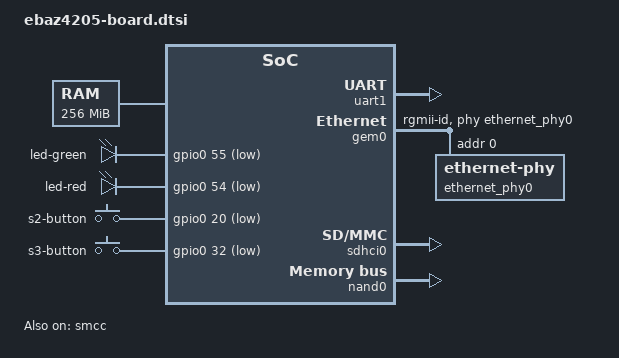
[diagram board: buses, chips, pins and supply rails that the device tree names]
/ {
        chosen {
                bootargs = "console=ttyPS0,115200 earlyprintk root=/dev/mmcblk0p2 rw";
                stdout-path = "serial0:115200n8";
        };

        aliases {
                ethernet0 = &gem0;
                serial0 = &uart1;
                mmc0 = &sdhci0;
        };

        memory@0 {
                device_type = "memory";
                reg = <0x0 0x10000000>;
        };

        leds {
                compatible = "gpio-leds";

		led-green {
                        label = "led-green";
			gpios = <&gpio0 55 1>;
			default-state = "off";
                        linux,default-trigger = "heartbeat";
		};
		led-red {
                        label = "led-red";
			gpios = <&gpio0 54 1>;
			default-state = "off";
		};
        };

        buttons {
                compatible = "gpio-keys-polled";
                poll-interval = <100>;

                s2-button {
                        gpios = <&gpio0 20 1>;
                        label = "s2-button";
                        default-state = "keep";
                        linux,code = <106>;
                        autorepeat;
                };
                s3-button {
                        gpios = <&gpio0 32 1>;
                        label = "s3-button";
                        default-state = "keep";
                        linux,code = <105>;
                        autorepeat;
                };
        };
};

&clkc {
       fclk-enable = <0xf>;
};

&uart1 {
       status = "okay";
};

&gem0 {
        status = "okay";
        phy-mode = "rgmii-id";
        phy-handle = <&ethernet_phy0>;

        ethernet_phy0: ethernet-phy@0 {
                reg = <0>;
        };
};

&sdhci0 {
        status = "okay";
};

&gpio0 {
        gpio-mask-low = <0x5600>;
};

&amba {
        smcc: memory-controller@e000e000 {
                status = "okay";
                compatible = "arm,pl353-smc-r2p1", "arm,primecell";
                reg = <0xe000e000 0x0001000>;
                clock-names = "memclk", "apb_pclk";
                clocks = <&clkc 11>, <&clkc 44>;
                ranges = <0x0 0x0 0xe1000000 0x1000000 /* Nand CS region */
                        0x1 0x0 0xe2000000 0x2000000 /* SRAM/NOR CS0 region */
                        0x2 0x0 0xe4000000 0x2000000>; /* SRAM/NOR CS1 region */
                #address-cells = <2>;
                #size-cells = <1>;

                nand0: nand-controller@0,0 {
                        status = "okay";
                        compatible = "arm,pl353-nand-r2p1";
                        reg = <0 0 0x1000000>;
                        #address-cells = <1>;
                        #size-cells = <0>;

                        pg_hack {
                                /*
                                ** Driver pl35x-nand-controller.c, function pl35x_nand_chip_init for some reason is handed a sub-node (this node).
                                ** Previously this was the partitions node, representing fixed-parititions, now its just a dummy to provide the reg property.
                                */
                                reg = <0>;
                        };
                };
        };
};
